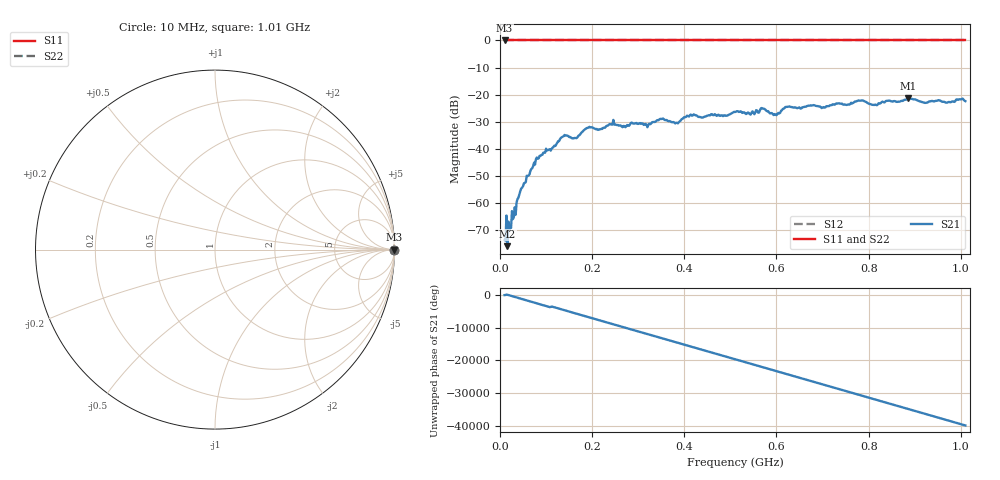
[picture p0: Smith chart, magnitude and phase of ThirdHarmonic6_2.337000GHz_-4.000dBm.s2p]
! 8/17/2025 3:25:28 AM
! C:\ANRITSUVNA\TEMP\TEMP.S2P
! CHANNEL.1
! TR.MEASUREMENT
! RAW.DATA
! RF.CORRECTION.OFF
! AVERAGING.OFF
! IF.BANDWIDTH: 5KHZ
! SWEEPTYPE:  FREQ.SWEEP(Linear)
! Reference Plane Port Info
! PORT:  PORT1  PORT2
! DISTANCE:  0  m  0  m
! TIME:  0  s  0  s
! PHASE.OFFSET:  0  deg.  0  deg.
! LOSS:  0  dB  0  dB
! REF.LOSS:  0  dB  0  dB
! REF.FREQ:  0  Hz  0  Hz
! Power Info
! POWER:  -20  dBm  -20  dBm
! EFF.POWER:  -20  dBm  -20  dBm
! SOURCE.ATTEN:  0  dB  0  dB
! TEST.ATTEN:  0  dB  0  dB
# GHZ S RI R 50.0
! FREQ.GHZ  S11RE  S11IM  S21RE  S21IM  S12RE  S12IM  S22RE  S22IM
!; PortSelection: Port_12
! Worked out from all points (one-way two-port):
!   501 points, 10 MHz to 1.01 GHz, reference 50 ohm
!   highest |S21| = -21.29 dB at 886 MHz (marker M1); lowest = -75.9 dB at 16 MHz (marker M2)
!   lowest |S11| = 0.0 dB at 10 MHz (marker M3)
!   |S11| at or under -10 dB: nowhere
!   |S22| runs from 0.0 to 0.0 dB; largest |S21 - S12| = 1.1
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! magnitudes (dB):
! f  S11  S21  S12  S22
! 10 MHz  0.0  -73.6  0.0  0.0
! 16 MHz  0.0  -75.9  0.0  0.0
! 20 MHz  0.0  -70.3  0.0  0.0
! 22 MHz  0.0  -68.6  0.0  0.0
! 46 MHz  0.0  -54.6  0.0  0.0
! 82 MHz  0.0  -43.6  0.0  0.0
! 136 MHz  0.0  -35.5  0.0  0.0
! 162 MHz  0.0  -36.0  0.0  0.0
! 178 MHz  0.0  -33.8  0.0  0.0
! 242 MHz  0.0  -31.0  0.0  0.0
! 322 MHz  0.0  -31.1  0.0  0.0
! 344 MHz  0.0  -29.4  0.0  0.0
! 384 MHz  0.0  -30.4  0.0  0.0
! 416 MHz  0.0  -27.7  0.0  0.0
! 510 MHz  0.0  -26.4  0.0  0.0
! 570 MHz  0.0  -25.1  0.0  0.0
! 598 MHz  0.0  -27.3  0.0  0.0
! 624 MHz  0.0  -24.5  0.0  0.0
! 678 MHz  0.0  -24.0  0.0  0.0
! 844 MHz  0.0  -22.2  0.0  0.0
! 886 MHz  0.0  -21.3  0.0  0.0
! 1.01 GHz  0.0  -22.4  0.0  0.0
